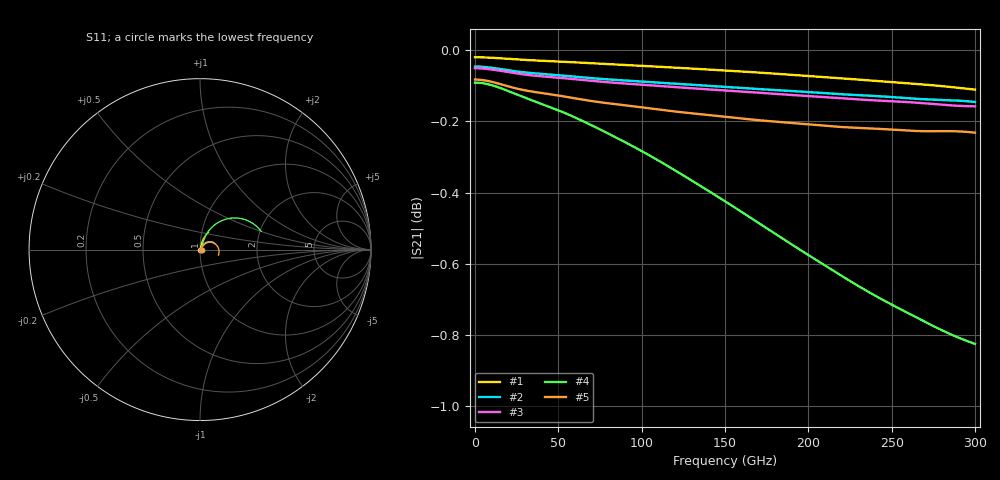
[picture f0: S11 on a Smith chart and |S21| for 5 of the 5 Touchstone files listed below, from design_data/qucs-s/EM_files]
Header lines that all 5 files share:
! Created with skrf (http://scikit-rf.org).
# Hz S RI R 50.0
!freq ReS11 ImS11 ReS21 ImS21 ReS12 ImS12 ReS22 ImS22
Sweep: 100 MHz to 300 GHz
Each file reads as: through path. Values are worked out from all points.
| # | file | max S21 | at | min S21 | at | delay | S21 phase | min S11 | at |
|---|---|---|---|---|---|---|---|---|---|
| 1 | 25_um_10_um.s2p | -0.02 dB | 100 MHz | -0.1 dB | 300 GHz | 226 fs | -12 deg at 150.1 GHz | -52.9 dB | 100 MHz |
| 2 | 80_um.s2p | -0.05 dB | 100 MHz | -0.1 dB | 300 GHz | 566 fs | -31 deg at 150.1 GHz | -45.5 dB | 100 MHz |
| 3 | 88_um.s2p | -0.05 dB | 100 MHz | -0.2 dB | 300 GHz | 617 fs | -34 deg at 150.1 GHz | -44.6 dB | 100 MHz |
| 4 | 95_um_8_um.s2p | -0.09 dB | 100 MHz | -0.8 dB | 300 GHz | 664 fs | -38 deg at 150.1 GHz | -39.6 dB | 100 MHz |
| 5 | 145_um.s2p | -0.08 dB | 100 MHz | -0.2 dB | 300 GHz | 968 fs | -53 deg at 150.1 GHz | -40.4 dB | 100 MHz |
